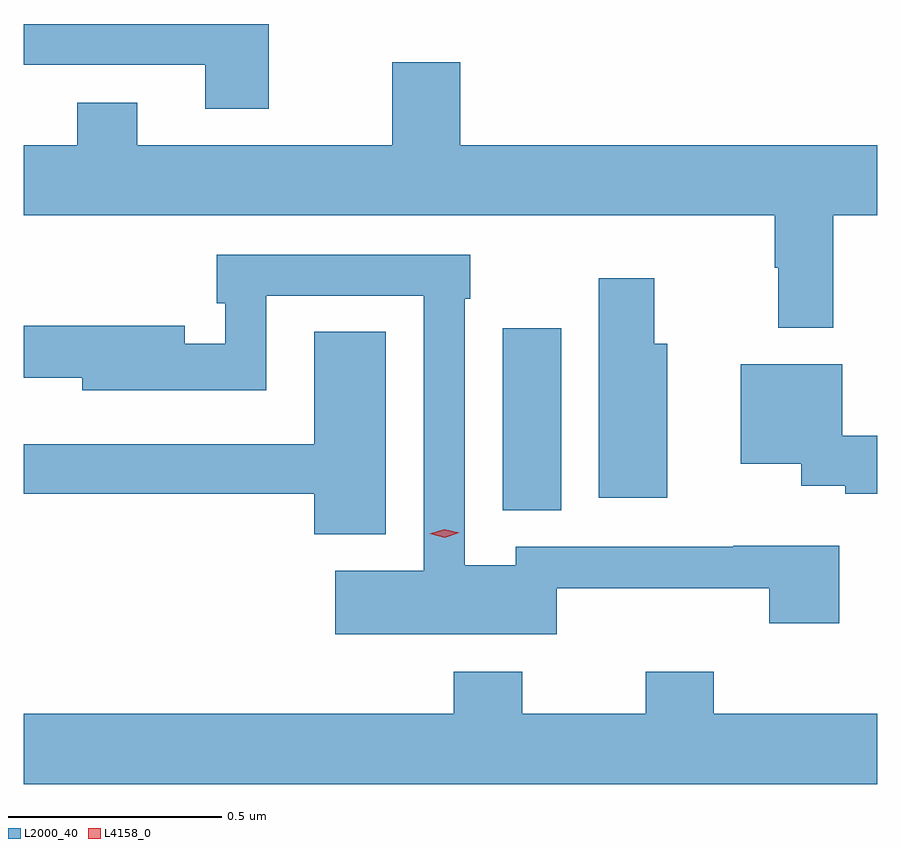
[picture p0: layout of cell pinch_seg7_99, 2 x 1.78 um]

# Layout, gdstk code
import gdstk
lib = gdstk.Library(unit=1e-6, precision=1e-09)
def R(c, l, rs):  # rectangles x0, y0, x1, y1
    for r in rs: c.add(gdstk.rectangle(r[:2], r[2:], *l))
def P(c, l, *ps):  # polygons
    for p in ps: c.add(gdstk.Polygon(p, *l))
L2000_40 = (2000, 40)
L4158_0 = (4158, 0)

pinch_seg7_99 = lib.new_cell('pinch_seg7_99')
R(pinch_seg7_99, L2000_40, [(953.681,1033.225,953.818,1033.651)])
P(pinch_seg7_99, L2000_40, [(953.133,1034.364),(952.559,1034.364),(952.559,1034.268),(952.985,1034.268),(952.985,1034.166),(953.133,1034.166)],
  [(954.455,1033.916),(954.559,1033.916),(954.559,1034.08),(953.582,1034.08),(953.582,1034.275),(953.422,1034.275),(953.422,1034.08),(952.825,1034.08),(952.825,1034.179),(952.685,1034.179),(952.685,1034.08),(952.559,1034.08),(952.559,1033.916),(954.319,1033.916),(954.319,1033.793),(954.327,1033.793),(954.327,1033.653),(954.455,1033.653)],
  [(953.808,1033.043),(954.305,1033.043),(954.305,1032.96),(954.47,1032.96),(954.47,1033.142),(954.221,1033.142),(954.221,1033.14),(953.712,1033.14),(953.712,1033.096),(953.592,1033.096),(953.592,1033.721),(953.605,1033.721),(953.605,1033.824),(953.011,1033.824),(953.011,1033.71),(953.031,1033.71),(953.031,1033.615),(952.936,1033.615),(952.936,1033.657),(952.559,1033.657),(952.559,1033.535),(952.697,1033.535),(952.697,1033.506),(953.127,1033.506),(953.127,1033.728),(953.496,1033.728),(953.496,1033.084),(953.289,1033.084),(953.289,1032.935),(953.808,1032.935)],
  [(954.067,1033.615),(954.036,1033.615),(954.036,1033.768),(953.906,1033.768),(953.906,1033.254),(954.067,1033.254)],
  [(953.407,1033.643),(953.24,1033.643),(953.24,1033.38),(952.559,1033.38),(952.559,1033.264),(953.24,1033.264),(953.24,1033.169),(953.407,1033.169)],
  [(954.559,1033.4),(954.477,1033.4),(954.477,1033.567),(954.239,1033.567),(954.239,1033.334),(954.381,1033.334),(954.381,1033.283),(954.484,1033.283),(954.484,1033.264),(954.559,1033.264)],
  [(954.559,1032.748),(954.176,1032.748),(954.176,1032.847),(954.016,1032.847),(954.016,1032.748),(953.727,1032.748),(953.727,1032.847),(953.567,1032.847),(953.567,1032.748),(952.559,1032.748),(952.559,1032.584),(954.559,1032.584)])
P(pinch_seg7_99, L4158_0, [(953.545,1033.161),(953.51,1033.17),(953.51,1033.17),(953.51,1033.17),(953.544,1033.181),(953.579,1033.173),(953.58,1033.172),(953.579,1033.172)])

lib.write_gds('pinch_seg7_99.gds')
